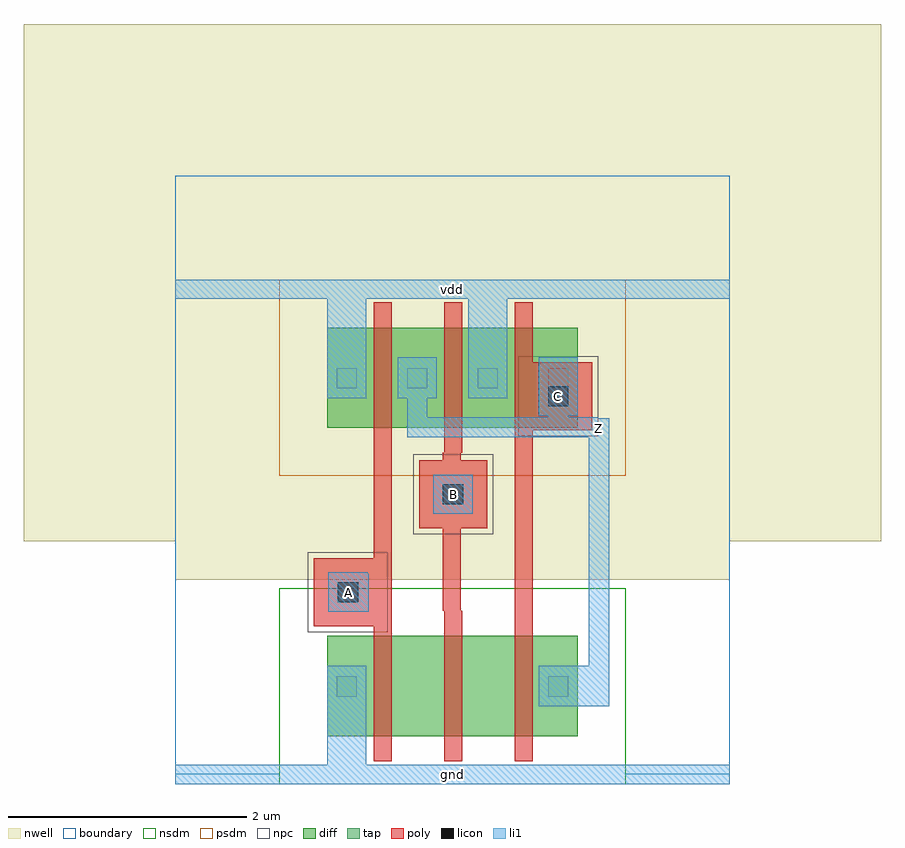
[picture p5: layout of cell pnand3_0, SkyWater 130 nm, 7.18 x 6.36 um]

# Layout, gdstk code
import gdstk
lib = gdstk.Library(unit=1e-6, precision=1e-09)
def R(c, l, rs):  # rectangles x0, y0, x1, y1
    for r in rs: c.add(gdstk.rectangle(r[:2], r[2:], *l))
nwell = (64, 20)
diff = (65, 20)
tap = (65, 44)
poly = (66, 20)
licon = (66, 44)
li1 = (67, 20)
nsdm = (93, 44)
psdm = (94, 20)
npc = (95, 20)
boundary = (235, 4)

contact_10 = lib.new_cell('contact_10')
R(contact_10, nwell, [(-1.25,-1.25,1.58,1.58)])
R(contact_10, diff, [(0.02,0.02,0.31,0.31)])
R(contact_10, tap, [(0.08,0.08,0.25,0.25)])
R(contact_10, li1, [(0,0,0.33,0.33)])
R(contact_10, psdm, [(-0.38,-0.38,0.71,0.71)])
R(contact_10, boundary, [(-1.25,-1.25,1.58,1.58)])

pmos_m1_w0_840_sli_dli = lib.new_cell('pmos_m1_w0_840_sli_dli')
R(pmos_m1_w0_840_sli_dli, nwell, [(-1.27,-1.27,2.19,2.11)])
R(pmos_m1_w0_840_sli_dli, diff, [(0,0,0.92,0.84)])
R(pmos_m1_w0_840_sli_dli, poly, [(0.39,-0.21,0.54,1.05), (0.39,-0.21,0.53,1.05)])
R(pmos_m1_w0_840_sli_dli, li1, [(0,0.25,0.33,0.59), (0.59,0.25,0.92,0.59)])
R(pmos_m1_w0_840_sli_dli, psdm, [(-0.4,-0.4,1.32,1.24)])
R(pmos_m1_w0_840_sli_dli, boundary, [(-1.27,-1.27,2.19,2.11)])
pmos_m1_w0_840_sli_dli.add(gdstk.Reference(contact_10, (0,0.25)))
pmos_m1_w0_840_sli_dli.add(gdstk.Reference(contact_10, (0.59,0.25)))
pmos_m1_w0_840_sli_dli.add(gdstk.Label('G', (0.46,0.42), layer=66, texttype=20))
pmos_m1_w0_840_sli_dli.add(gdstk.Label('S', (0.165,0.42), layer=67, texttype=20))
pmos_m1_w0_840_sli_dli.add(gdstk.Label('D', (0.755,0.42), layer=67, texttype=20))

contact_9 = lib.new_cell('contact_9')
R(contact_9, diff, [(0.02,0.02,0.31,0.31)])
R(contact_9, tap, [(0.08,0.08,0.25,0.25)])
R(contact_9, li1, [(0,0,0.33,0.33)])
R(contact_9, nsdm, [(-0.38,-0.38,0.71,0.71)])
R(contact_9, boundary, [(-0.38,-0.38,0.71,0.71)])

nmos_m1_w0_840_sli_dacti = lib.new_cell('nmos_m1_w0_840_sli_dactive')
R(nmos_m1_w0_840_sli_dacti, diff, [(0,0,0.92,0.84), (0.62,0.29,0.89,0.55)])
R(nmos_m1_w0_840_sli_dacti, poly, [(0.39,-0.21,0.54,1.05), (0.39,-0.21,0.53,1.05)])
R(nmos_m1_w0_840_sli_dacti, li1, [(0,0.25,0.33,0.59)])
R(nmos_m1_w0_840_sli_dacti, nsdm, [(-0.4,-0.4,1.32,1.24)])
R(nmos_m1_w0_840_sli_dacti, boundary, [(-0.4,-0.4,1.32,1.24)])
nmos_m1_w0_840_sli_dacti.add(gdstk.Reference(contact_9, (0,0.25)))
nmos_m1_w0_840_sli_dacti.add(gdstk.Label('G', (0.46,0.42), layer=66, texttype=20))
nmos_m1_w0_840_sli_dacti.add(gdstk.Label('S', (0.165,0.42), layer=67, texttype=20))
nmos_m1_w0_840_sli_dacti.add(gdstk.Label('D', (0.755,0.42), layer=65, texttype=20))

nmos_m1_w0_840_sactive_d = lib.new_cell('nmos_m1_w0_840_sactive_dactive')
R(nmos_m1_w0_840_sactive_d, diff, [(0,0,0.92,0.84), (0.03,0.29,0.3,0.55), (0.62,0.29,0.89,0.55)])
R(nmos_m1_w0_840_sactive_d, poly, [(0.39,-0.21,0.54,1.05), (0.39,-0.21,0.53,1.05)])
R(nmos_m1_w0_840_sactive_d, nsdm, [(-0.4,-0.4,1.32,1.24)])
R(nmos_m1_w0_840_sactive_d, boundary, [(-0.4,-0.4,1.32,1.24)])
nmos_m1_w0_840_sactive_d.add(gdstk.Label('G', (0.46,0.42), layer=66, texttype=20))
nmos_m1_w0_840_sactive_d.add(gdstk.Label('S', (0.165,0.42), layer=65, texttype=20))
nmos_m1_w0_840_sactive_d.add(gdstk.Label('D', (0.755,0.42), layer=65, texttype=20))

c_nmos_m1_w0_840_sactive_d = lib.new_cell('nmos_m1_w0_840_sactive_dli')
R(c_nmos_m1_w0_840_sactive_d, diff, [(0,0,0.92,0.84), (0.03,0.29,0.3,0.55)])
R(c_nmos_m1_w0_840_sactive_d, poly, [(0.39,-0.21,0.54,1.05), (0.39,-0.21,0.53,1.05)])
R(c_nmos_m1_w0_840_sactive_d, li1, [(0.59,0.25,0.92,0.59)])
R(c_nmos_m1_w0_840_sactive_d, nsdm, [(-0.4,-0.4,1.32,1.24)])
R(c_nmos_m1_w0_840_sactive_d, boundary, [(-0.4,-0.4,1.32,1.24)])
c_nmos_m1_w0_840_sactive_d.add(gdstk.Reference(contact_9, (0.59,0.25)))
c_nmos_m1_w0_840_sactive_d.add(gdstk.Label('G', (0.46,0.42), layer=66, texttype=20))
c_nmos_m1_w0_840_sactive_d.add(gdstk.Label('S', (0.165,0.42), layer=65, texttype=20))
c_nmos_m1_w0_840_sactive_d.add(gdstk.Label('D', (0.755,0.42), layer=67, texttype=20))

contact_13 = lib.new_cell('contact_13')
R(contact_13, poly, [(0,0,0.57,0.57)])
R(contact_13, licon, [(0.2,0.2,0.37,0.37)])
R(contact_13, li1, [(0.12,0.12,0.45,0.45)])
R(contact_13, npc, [(-0.05,-0.05,0.62,0.62)])
R(contact_13, boundary, [(-0.05,-0.05,0.62,0.62)])

pnand3_0 = lib.new_cell('pnand3_0')
R(pnand3_0, nwell, [(-1.27,1.95,5.91,6.28)])
R(pnand3_0, poly, [(1.45,1.24,1.66,1.81), (1.66,1.37,1.81,2.69), (2.24,1.37,2.39,2.69), (2.84,1.37,2.99,2.69), (2.24,2.06,2.32,2.63), (2.84,2.88,3.2,3.45)])
R(pnand3_0, li1, [(0,-0.08,4.64,0.08), (1.27,-0.08,1.6,0.57), (3.2,0.57,3.54,0.91), (3.46,0.57,3.63,2.9), (1.28,1.36,1.62,1.68), (2.16,2.18,2.49,2.5), (3.46,2.81,3.63,2.98), (1.94,2.82,2.11,2.99), (2.02,2.82,3.54,2.99), (3.12,2.82,3.29,2.99), (3.2,2.82,3.54,2.99), (1.94,2.9,2.11,3.32), (3.12,2.9,3.29,3.32), (3.04,3,3.36,3.32), (1.27,3.15,1.6,4.14), (2.45,3.15,2.78,4.14), (0,3.98,4.64,4.14)])
R(pnand3_0, boundary, [(0,0,4.64,4.06), (0,0,4.64,4.06)])
pnand3_0.add(gdstk.Reference(pmos_m1_w0_840_sli_dli, (1.27,2.9)))
pnand3_0.add(gdstk.Reference(pmos_m1_w0_840_sli_dli, (1.86,2.9)))
pnand3_0.add(gdstk.Reference(pmos_m1_w0_840_sli_dli, (2.45,2.9)))
pnand3_0.add(gdstk.Reference(nmos_m1_w0_840_sli_dacti, (1.27,0.32)))
pnand3_0.add(gdstk.Reference(nmos_m1_w0_840_sactive_d, (1.86,0.32)))
pnand3_0.add(gdstk.Reference(c_nmos_m1_w0_840_sactive_d, (2.45,0.32)))
pnand3_0.add(gdstk.Reference(contact_13, (1.16,1.24)))
pnand3_0.add(gdstk.Reference(contact_13, (2.04,2.06)))
pnand3_0.add(gdstk.Reference(contact_13, (2.92,2.88)))
pnand3_0.add(gdstk.Label('A', (1.45,1.52), layer=67, texttype=20))
pnand3_0.add(gdstk.Label('B', (2.325,2.34), layer=67, texttype=20))
pnand3_0.add(gdstk.Label('C', (3.2,3.16), layer=67, texttype=20))
pnand3_0.add(gdstk.Label('Z', (3.545,2.895), layer=67, texttype=20))
pnand3_0.add(gdstk.Label('gnd', (2.32,0), layer=67, texttype=20))
pnand3_0.add(gdstk.Label('vdd', (2.32,4.06), layer=67, texttype=20))

lib.write_gds('pnand3_0.gds')
